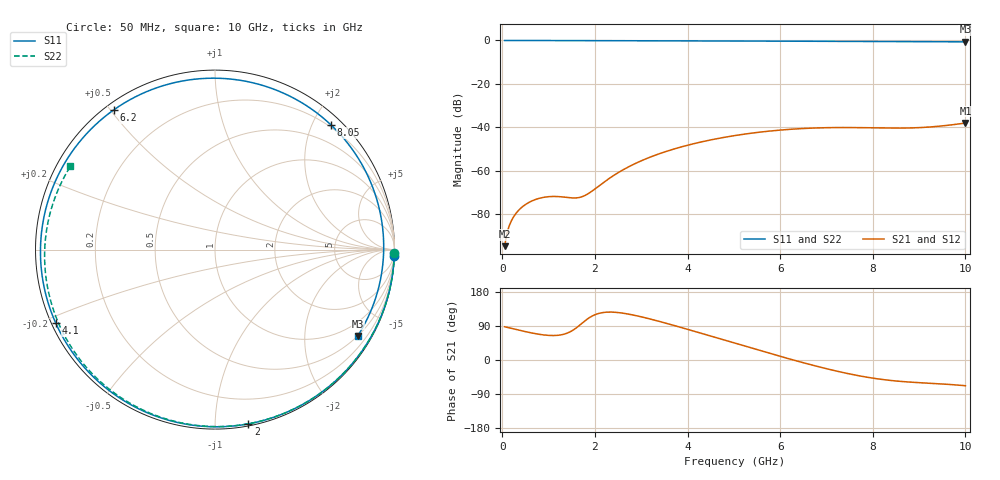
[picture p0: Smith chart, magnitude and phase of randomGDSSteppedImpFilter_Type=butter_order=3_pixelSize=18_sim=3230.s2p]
! freq	dB(S11)	phase(S11)	dB(S12)	phase(S12)
!  dB(S21)	phase(S21)	dB(S22)	phase(S22)
!S-par simulation data
#  GHz  S  DB  R 50
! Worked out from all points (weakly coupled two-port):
!   200 points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, 50 MHz to 10 GHz, reference 50 ohm
!   highest |S21| = -38.10 dB at 10 GHz (marker M1); lowest = -94.9 dB at 50 MHz (marker M2)
!   lowest |S11| = -0.6 dB at 10 GHz (marker M3), VSWR 27.18, Z = 24.9 - j176 ohm
!   |S11| at or under -10 dB: nowhere
!   |S22| runs from -0.6 to 0.0 dB; largest |S21 - S12| = 0
!   S11 on the Smith chart (normalised r, x): 50 MHz: 1, -55; 2 GHz: 0.01, -1.21; 4.1 GHz: 0.01, -0.22; 6.2 GHz: 0.02, +0.51; 8.05 GHz: 0.16, +2.29; 10 GHz: 0.50, -3.51
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0.05  -0.01 -2.1  -94.86 87.7  -94.86 87.7  -0.00 -1.2
0.3  -0.02 -12.3  -79.63 80.5  -79.63 80.5  -0.01 -7.2
0.55  -0.03 -22.5  -75.00 73.5  -75.00 73.5  -0.01 -13.2
0.85  -0.04 -34.5  -72.53 66.9  -72.53 66.9  -0.02 -20.4
1.3  -0.07 -52.3  -72.16 67.1  -72.16 67.1  -0.04 -30.9
1.75  -0.09 -69.7  -71.84 99.8  -71.84 99.8  -0.05 -41.4
2  -0.10 -79.2  -68.50 119.4  -68.50 119.4  -0.06 -47.1
2.7  -0.13 -105.1  -58.58 121.7  -58.58 121.7  -0.08 -62.7
3.4  -0.16 -130.2  -52.17 101.6  -52.17 101.6  -0.10 -77.7
4.1  -0.20 -155.2  -47.79 77.4  -47.79 77.4  -0.13 -92.3
4.6  -0.23 -173.1  -45.45 59.6  -45.45 59.6  -0.15 -102.3
5.05  -0.26 170.4  -43.77 43.4  -43.77 43.4  -0.17 -111.2
5.6  -0.30 149.6  -42.19 23.7  -42.19 23.7  -0.20 -121.9
6.2  -0.34 125.9  -41.00 2.8  -41.00 2.8  -0.24 -133.4
6.7  -0.38 105.2  -40.41 -13.7  -40.41 -13.7  -0.27 -142.9
7.35  -0.42 77.4  -40.16 -32.9  -40.16 -32.9  -0.33 -155.3
8.05  -0.46 47.0  -40.33 -48.8  -40.33 -48.8  -0.40 -168.9
8.35  -0.47 34.1  -40.42 -53.5  -40.42 -53.5  -0.43 -174.9
8.75  -0.50 17.3  -40.38 -57.9  -40.38 -57.9  -0.47 177.1
9.15  -0.54 1.0  -40.03 -60.9  -40.03 -60.9  -0.52 168.7
9.55  -0.58 -14.6  -39.30 -63.6  -39.30 -63.6  -0.57 160.1
10  -0.64 -31.2  -38.10 -67.9  -38.10 -67.9  -0.63 150.1
